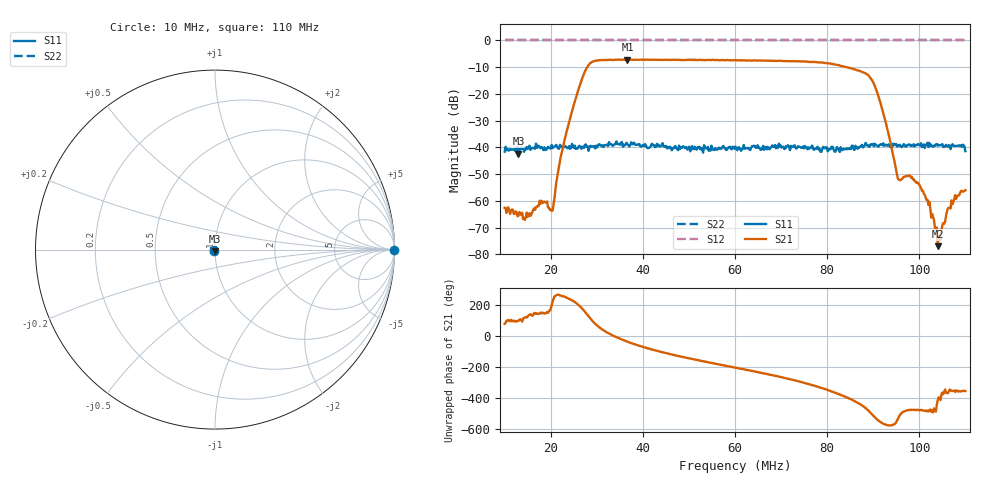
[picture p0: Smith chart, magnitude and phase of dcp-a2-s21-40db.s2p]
! Anritsu VNA Master:  Model: MS2034B/10/19/501
! SN:  1337062
! /bd0/ovro-jan-2016/dcp-a2-s21-40db.s2p
! Existing Calibration Information:
! TYPE:  Current Settings,  Active Cal Settings
! TIME:  01/10/2016 03:52:21 PM,  01/10/2016 03:13:30 PM
! INTERNAL TEMP:  42.8 C,  45.8 C
! # POINTS:  500,  500
! START FREQ:  10.000 MHz,  10.000 MHz
! STOP FREQ:  110.000 MHz,  110.000 MHz
! SOURCE POWER:  Low,  Low
! IFBW:  100 Hz,  100 Hz
! AVG FACTOR:  3 ,  3
! REF PLANE 1:  2.2245 m,  2.2245 m
! REF PLANE 2:  0 mm,  0 mm
! CAL TYPE:  1P2P S11,S21,  1P2P S11,S21
! CAL METHOD:  SOLT,  SOLT
! CAL LINE TYPE:  Coax,  Coax
! DUT PORT 1:  K-Conn(M),  K-Conn(M)
! DUT PORT 2:  N-Conn(M),  N-Conn(M)
! CAL STATUS:  OK: Accuracy High,  --
# GHZ S DB R 50.0
! FREQ.GHZ  S11DB  S11A  S21DB  S21A  S12DB  S12A  S22DB  S22A
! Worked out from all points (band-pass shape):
!   500 points, 10 MHz to 110 MHz, reference 50 ohm
!   highest |S21| = -7.13 dB at 36.65 MHz (marker M1); lowest = -76.9 dB at 104 MHz (marker M2)
!   |S21| within 3 dB of the highest: 27.86 MHz to 84.61 MHz (56.75 MHz wide, 101 % of centre)
!   lowest |S11| = -42.3 dB at 13.01 MHz (marker M3), VSWR 1.02, Z = 49.9 - j0.76 ohm
!   |S11| at or under -10 dB: start of sweep to end of sweep
!   |S22| runs from 0.0 to 0.0 dB; largest |S21 - S12| = 1.4
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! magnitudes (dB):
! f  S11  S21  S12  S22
! 10 MHz  -41.6  -62.6  0.0  0.0
! 13.01 MHz  -42.3  -65.6  0.0  0.0
! 15.41 MHz  -39.3  -64.6  0.0  0.0
! 18.02 MHz  -39.8  -60.0  0.0  0.0
! 20.22 MHz  -39.1  -63.8  0.0  0.0
! 22.63 MHz  -40.4  -40.3  0.0  0.0
! 26.83 MHz  -39.7  -14.2  0.0  0.0
! 29.24 MHz  -39.6  -7.8  0.0  0.0
! 36.65 MHz  -38.9  -7.1  0.0  0.0
! 43.47 MHz  -39.0  -7.2  0.0  0.0
! 60.1 MHz  -39.7  -7.4  0.0  0.0
! 76.73 MHz  -39.3  -8.0  0.0  0.0
! 88.96 MHz  -39.3  -13.0  0.0  0.0
! 90.96 MHz  -39.6  -20.0  0.0  0.0
! 93.37 MHz  -38.9  -35.3  0.0  0.0
! 95.57 MHz  -39.1  -52.0  0.0  0.0
! 99.98 MHz  -39.1  -54.0  0.0  0.0
! 102 MHz  -39.8  -61.5  0.0  0.0
! 104 MHz  -39.3  -76.9  0.0  0.0
! 104.4 MHz  -39.3  -73.0  0.0  0.0
! 107.4 MHz  -39.4  -60.3  0.0  0.0
! 110 MHz  -41.4  -56.0  0.0  0.0
